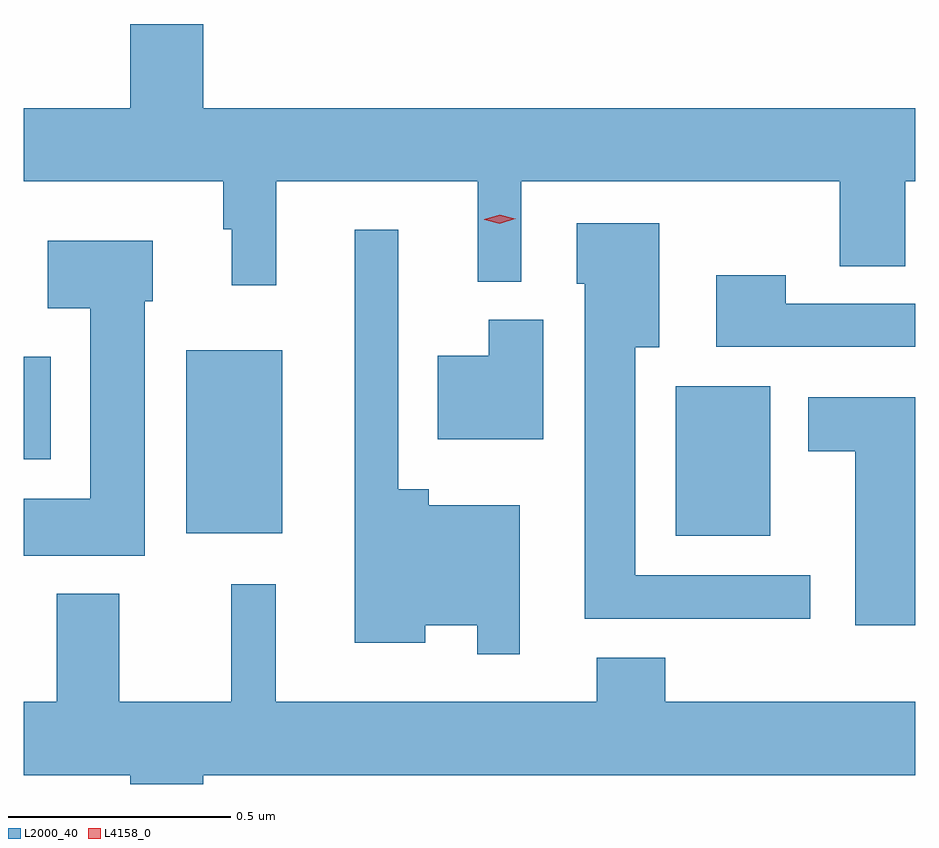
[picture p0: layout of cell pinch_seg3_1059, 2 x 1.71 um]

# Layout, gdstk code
import gdstk
lib = gdstk.Library(unit=1e-6, precision=1e-09)
def R(c, l, rs):  # rectangles x0, y0, x1, y1
    for r in rs: c.add(gdstk.rectangle(r[:2], r[2:], *l))
def P(c, l, *ps):  # polygons
    for p in ps: c.add(gdstk.Polygon(p, *l))
L2000_40 = (2000, 40)
L4158_0 = (4158, 0)

pinch_seg3_1059 = lib.new_cell('pinch_seg3_1059')
R(pinch_seg3_1059, L2000_40, [(513.884,672.149,514.096,672.484), (512.786,672.155,513.001,672.565), (512.421,672.32,512.482,672.55)])
P(pinch_seg3_1059, L2000_40, [(512.987,672.944),(513.44,672.944),(513.44,672.719),(513.537,672.719),(513.537,672.944),(514.252,672.944),(514.252,672.754),(514.399,672.754),(514.399,672.944),(514.421,672.944),(514.421,673.108),(512.824,673.108),(512.824,673.297),(512.66,673.297),(512.66,673.108),(512.421,673.108),(512.421,672.944),(512.869,672.944),(512.869,672.836),(512.888,672.836),(512.888,672.711),(512.987,672.711)],
  [(514.186,672.06),(513.793,672.06),(513.793,672.572),(513.847,672.572),(513.847,672.85),(513.662,672.85),(513.662,672.714),(513.68,672.714),(513.68,671.963),(514.186,671.963)],
  [(513.534,672.217),(513.33,672.217),(513.33,672.253),(513.261,672.253),(513.261,672.835),(513.164,672.835),(513.164,671.909),(513.322,671.909),(513.322,671.948),(513.438,671.948),(513.438,671.883),(513.534,671.883)],
  [(512.692,672.675),(512.71,672.675),(512.71,672.811),(512.475,672.811),(512.475,672.659),(512.57,672.659),(512.57,672.232),(512.421,672.232),(512.421,672.104),(512.692,672.104)],
  [(514.421,672.669),(514.131,672.669),(514.131,672.733),(513.975,672.733),(513.975,672.573),(514.421,672.573)],
  [(513.586,672.634),(513.464,672.634),(513.464,672.553),(513.35,672.553),(513.35,672.365),(513.586,672.365)],
  [(514.421,672.46),(514.181,672.46),(514.181,672.338),(514.286,672.338),(514.286,671.948),(514.421,671.948)],
  [(512.824,671.612),(514.421,671.612),(514.421,671.776),(513.86,671.776),(513.86,671.875),(513.707,671.875),(513.707,671.776),(512.986,671.776),(512.986,672.04),(512.887,672.04),(512.887,671.776),(512.635,671.776),(512.635,672.019),(512.495,672.019),(512.495,671.776),(512.421,671.776),(512.421,671.612),(512.66,671.612),(512.66,671.592),(512.824,671.592)])
P(pinch_seg3_1059, L4158_0, [(513.489,672.849),(513.454,672.858),(513.454,672.859),(513.454,672.859),(513.489,672.869),(513.524,672.86),(513.525,672.86),(513.524,672.86)])

lib.write_gds('pinch_seg3_1059.gds')
